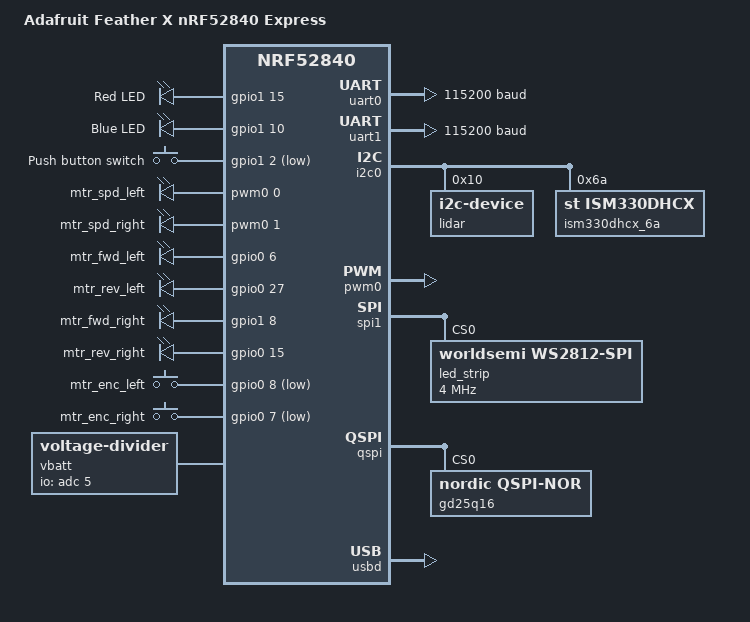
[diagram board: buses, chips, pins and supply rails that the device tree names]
/*
 * Copyright (c) 2020 Tobias Svehagen
 *
 * SPDX-License-Identifier: Apache-2.0
 */

/dts-v1/;
#include <nordic/nrf52840_qiaa.dtsi>
#include "feather_connector.dtsi"
#include "adafruit_feather_x_nrf52840-pinctrl.dtsi"
#include <zephyr/dt-bindings/input/input-event-codes.h>

/* For SPI Neopixel */
#include <zephyr/dt-bindings/led/led.h>

/ {
	model = "Adafruit Feather X nRF52840 Express";
	compatible = "adafruit,feather-x-nrf52840";

	chosen {
		zephyr,console = &uart0;
		zephyr,shell-uart = &uart0;
		zephyr,uart-mcumgr = &uart0;
		zephyr,bt-mon-uart = &uart0;
		zephyr,bt-c2h-uart = &uart0;
		zephyr,sram = &sram0;
		zephyr,flash = &flash0;
		zephyr,code-partition = &slot0_partition;
		zephyr,ieee802154 = &ieee802154;
	};

	leds {
		compatible = "gpio-leds";
		led0: led_0 {
			gpios = <&gpio1 15 0>;
			label = "Red LED";
		};
		led1: led_1 {
			gpios = <&gpio1 10 0>;
			label = "Blue LED";
		};
	};

	buttons {
		compatible = "gpio-keys";
		button0: button_0 {
			gpios = <&gpio1 2 (GPIO_PULL_UP | GPIO_ACTIVE_LOW)>;
			label = "Push button switch";
			zephyr,code = <INPUT_KEY_0>;
		};
	};

	motor_speed {
		compatible = "pwm-leds";
		mtr_spd_left: spd_left {
			pwms = <&pwm0 0 PWM_MSEC(1) PWM_POLARITY_NORMAL>;
		};
		mtr_spd_right: spd_right {
			pwms = <&pwm0 1 PWM_MSEC(1) PWM_POLARITY_NORMAL>;
		};
	};

	motor_ctrls {
		compatible = "gpio-leds";
		mtr_fwd_left: fwd_left {
			gpios = <&gpio0 6 GPIO_ACTIVE_HIGH>;
		};
		mtr_rev_left: rev_left {
			gpios = <&gpio0 27 GPIO_ACTIVE_HIGH>;
		};
		mtr_fwd_right: fwd_right {
			gpios = <&gpio1 8 GPIO_ACTIVE_HIGH>;
		};
		mtr_rev_right: rev_right {
			gpios = <&gpio0 15 GPIO_ACTIVE_HIGH>;
		};
	};

	motor_encoders {
		compatible = "gpio-keys";
		mtr_enc_left: enc_left {
			gpios = <&gpio0 8 (GPIO_PULL_UP | GPIO_ACTIVE_LOW)>;
		};
		mtr_enc_right: enc_right {
			gpios = <&gpio0 7 (GPIO_PULL_UP | GPIO_ACTIVE_LOW)>;
		};
	};

	vbatt {
		compatible = "voltage-divider";
		io-channels = <&adc 5>;
		output-ohms = <100000>;
		full-ohms = <(100000 + 100000)>;
	};

	/* These aliases are provided for compatibility with samples */
	aliases {
		led0 = &led0;
		led1 = &led1;
		sw0 = &button0;
		watchdog0 = &wdt0;
		spi-flash0 = &gd25q16;
		led-strip = &led_strip;
	};
};

/*
 * &adc {
 * 	status = "okay";
 * };
 */

&uicr {
	gpio-as-nreset;
};

&gpiote {
	status = "okay";
};

&gpio0 {
	status = "okay";
};

&gpio1 {
	status = "okay";
};

&uart0 {
	compatible = "nordic,nrf-uart";
	current-speed = <115200>;
	status = "okay";
	pinctrl-0 = <&uart0_default>;
	pinctrl-1 = <&uart0_sleep>;
	pinctrl-names = "default", "sleep";
};

&uart1 {
	status = "okay";
	current-speed = <115200>;
	pinctrl-0 = <&uart1_default>;
	pinctrl-1 = <&uart1_sleep>;
	pinctrl-names = "default", "sleep";
};

&i2c0 {
	compatible = "nordic,nrf-twi";
	status = "okay";
	pinctrl-0 = <&i2c0_default>;
	pinctrl-1 = <&i2c0_sleep>;
	pinctrl-names = "default", "sleep";

	lidar: tfluna@10 {
		compatible = "i2c-device";
		reg = <0x10>;
	};

	ism330dhcx_6a: ism330dhcx@6a {
		compatible = "st,ism330dhcx";
		reg = <0x6a>;
	};
};

&pwm0 {
	status = "okay";
	pinctrl-0 = <&pwm0_default>;
	pinctrl-1 = <&pwm0_sleep>;
	pinctrl-names = "default", "sleep";
};

/*
 * At 4 MHz, 1 bit is 250 ns, so 3 bits is 750 ns.
 *
 * That's cutting it a bit close to the edge of the timing parameters,
 * but it seems to work on AdaFruit LED rings.
 */
#define SPI_FREQ    4000000
#define ZERO_FRAME  0x40
#define ONE_FRAME   0x70

&spi1 {
	compatible = "nordic,nrf-spim";
	status = "okay";
	pinctrl-0 = <&spi1_default>;
	pinctrl-1 = <&spi1_sleep>;
	pinctrl-names = "default", "sleep";

	led_strip: ws2812@0 {
		compatible = "worldsemi,ws2812-spi";
		status = "okay";

		/* SPI */
		reg = <0>; /* ignored, but necessary for SPI bindings */
		spi-max-frequency = <SPI_FREQ>;

		/* WS2812 */
		chain-length = <1>;
		color-mapping = <LED_COLOR_ID_GREEN
				 LED_COLOR_ID_RED
				 LED_COLOR_ID_BLUE>;
		spi-one-frame = <ONE_FRAME>;
		spi-zero-frame = <ZERO_FRAME>;
	};
};

&qspi {
	/* status = "okay"; */
	pinctrl-0 = <&qspi_default>;
	pinctrl-1 = <&qspi_sleep>;
	pinctrl-names = "default", "sleep";
	gd25q16: gd25q16@0 {
		compatible = "nordic,qspi-nor";
		reg = <0>;
		writeoc = "pp4o";
		readoc = "read4io";
		sck-frequency = <16000000>;
		jedec-id = [c8 40 15];
		size = <16777216>;
		has-dpd;
		t-enter-dpd = <20000>;
		t-exit-dpd = <20000>;
		quad-enable-requirements = "S2B1v1";
	};
};

/*
 * &ieee802154 {
 *	status = "okay";
 * };
 */

&flash0 {

	partitions {
		compatible = "fixed-partitions";
		#address-cells = <1>;
		#size-cells = <1>;

		boot_partition: partition@0 {
			label = "mcuboot";
			reg = <0x00000000 0x0000C000>;
		};
		slot0_partition: partition@c000 {
			label = "image-0";
			reg = <0x0000C000 0x00067000>;
		};
		slot1_partition: partition@73000 {
			label = "image-1";
			reg = <0x00073000 0x00067000>;
		};
		scratch_partition: partition@da000 {
			label = "image-scratch";
			reg = <0x000da000 0x0001e000>;
		};

		/*
		 * The flash starting at 0x000f8000 and ending at
		 * 0x000fffff is reserved for use by the application.
		 */

		/* Storage partition will be used by FCB/NFFS/NVS if enabled. */
		storage_partition: partition@f8000 {
			label = "storage";
			reg = <0x000f8000 0x00008000>;
		};
	};
};

zephyr_udc0: &usbd {
	compatible = "nordic,nrf-usbd";
	status = "okay";
};
